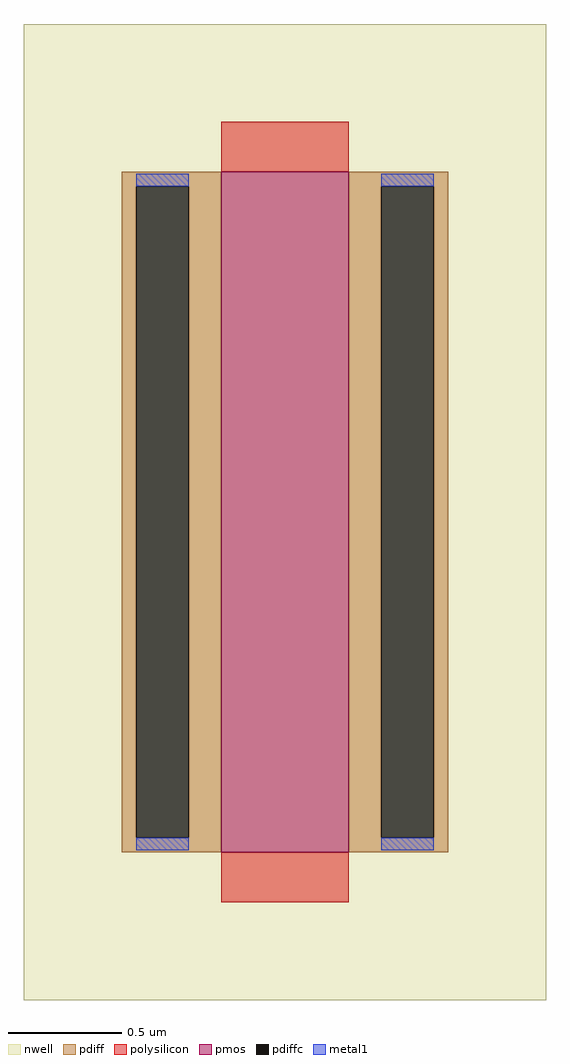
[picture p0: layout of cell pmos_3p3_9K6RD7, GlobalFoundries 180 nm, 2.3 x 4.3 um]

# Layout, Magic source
magic
tech gf180mcuC
magscale 1 10
<< nwell >>
rect -230 -430 230 430
<< pmos >>
rect -56 -300 56 300
<< pdiff >>
rect -144 287 -56 300
rect -144 -287 -131 287
rect -85 -287 -56 287
rect -144 -300 -56 -287
rect 56 287 144 300
rect 56 -287 85 287
rect 131 -287 144 287
rect 56 -300 144 -287
<< pdiffc >>
rect -131 -287 -85 287
rect 85 -287 131 287
<< polysilicon >>
rect -56 300 56 344
rect -56 -344 56 -300
<< metal1 >>
rect -131 287 -85 298
rect -131 -298 -85 -287
rect 85 287 131 298
rect 85 -298 131 -287
<< properties >>
string gencell pmos_3p3
string library gf180mcu
string parameters w 3 l 0.56 m 1 nf 1 diffcov 100 polycov 100 guard 0 glc 0 grc 0 gtc 0 gbc 0 tbcov 100 rlcov 100 topc 0 botc 0 poverlap 0 doverlap 1 lmin 0.28 wmin 0.22 full_metal 0 compatible {pmos_3p3 pmos_6p0}
<< end >>
